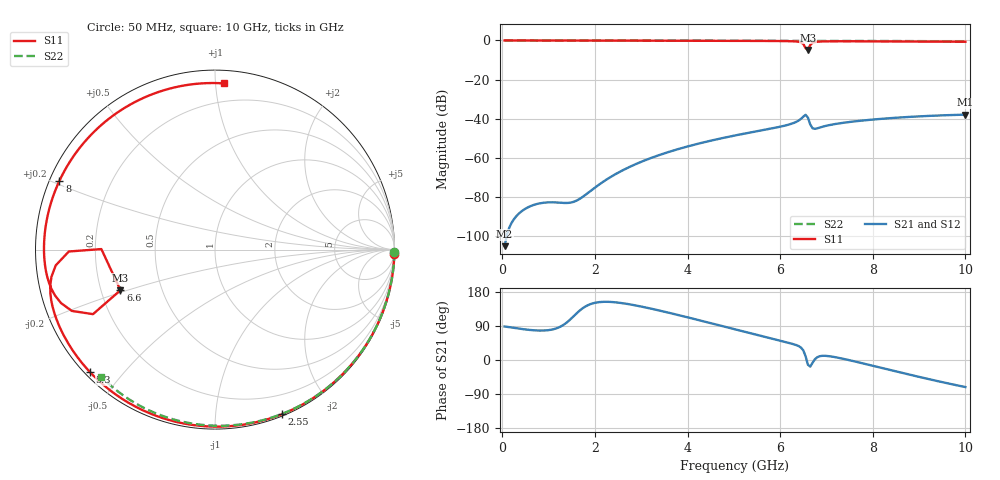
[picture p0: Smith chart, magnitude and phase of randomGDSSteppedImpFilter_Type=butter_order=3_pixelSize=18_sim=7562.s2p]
! freq	dB(S11)	phase(S11)	dB(S12)	phase(S12)
!  dB(S21)	phase(S21)	dB(S22)	phase(S22)
!S-par simulation data
#  GHz  S  DB  R 50
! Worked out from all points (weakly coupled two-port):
!   200 points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, 50 MHz to 10 GHz, reference 50 ohm
!   highest |S21| = -37.90 dB at 10 GHz (marker M1); lowest = -105.1 dB at 50 MHz (marker M2)
!   lowest |S11| = -4.8 dB at 6.6 GHz (marker M3), VSWR 3.68, Z = 14.1 - j9.5 ohm
!   |S11| at or under -10 dB: nowhere
!   |S22| runs from -0.4 to 0.0 dB; largest |S21 - S12| = 0
!   S11 on the Smith chart (normalised r, x): 50 MHz: 1, -82; 2.55 GHz: 0.02, -1.49; 5.3 GHz: 0.01, -0.41; 6.6 GHz: 0.28, -0.19; 8 GHz: 0.03, +0.21; 10 GHz: 0.08, +1.05
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0.05  -0.00 -1.4  -105.12 88.4  -105.12 88.4  -0.00 -0.8
0.85  -0.03 -23.2  -83.06 77.7  -83.06 77.7  -0.02 -12.9
1.75  -0.06 -47.1  -79.70 137.8  -79.70 137.8  -0.03 -26.3
2.2  -0.07 -58.8  -71.86 153.6  -71.86 153.6  -0.04 -32.9
2.55  -0.09 -67.8  -66.96 150.7  -66.96 150.7  -0.05 -37.9
3.4  -0.12 -89.1  -58.48 130.3  -58.48 130.3  -0.07 -50.0
4.2  -0.15 -108.7  -52.94 106.5  -52.94 106.5  -0.09 -61.1
5.05  -0.20 -129.5  -48.43 80.2  -48.43 80.2  -0.11 -72.4
5.3  -0.22 -135.7  -47.28 72.4  -47.28 72.4  -0.12 -75.7
6.05  -0.31 -156.0  -43.81 49.3  -43.81 49.3  -0.15 -85.2
6.4  -0.68 -170.5  -40.92 36.7  -40.92 36.7  -0.16 -89.6
6.5  -1.78 -179.3  -38.93 25.4  -38.93 25.4  -0.17 -90.9
6.55  -3.97 179.7  -38.00 9.7  -38.00 9.7  -0.17 -91.5
6.6  -4.84 -156.8  -39.44 -12.6  -39.44 -12.6  -0.17 -92.1
6.65  -2.28 -152.1  -42.94 -17.4  -42.94 -17.4  -0.18 -92.7
6.7  -1.23 -156.8  -44.87 -7.3  -44.87 -7.3  -0.18 -93.3
6.85  -0.56 -166.6  -44.54 9.8  -44.54 9.8  -0.19 -95.2
7.1  -0.43 -176.2  -43.07 9.3  -43.07 9.3  -0.20 -98.2
8  -0.47 156.2  -40.42 -15.2  -40.42 -15.2  -0.26 -108.9
8.35  -0.50 145.3  -39.75 -25.6  -39.75 -25.6  -0.29 -113.0
9.25  -0.59 115.0  -38.51 -51.6  -38.51 -51.6  -0.37 -123.3
10  -0.66 87.0  -37.90 -71.4  -37.90 -71.4  -0.44 -131.8
